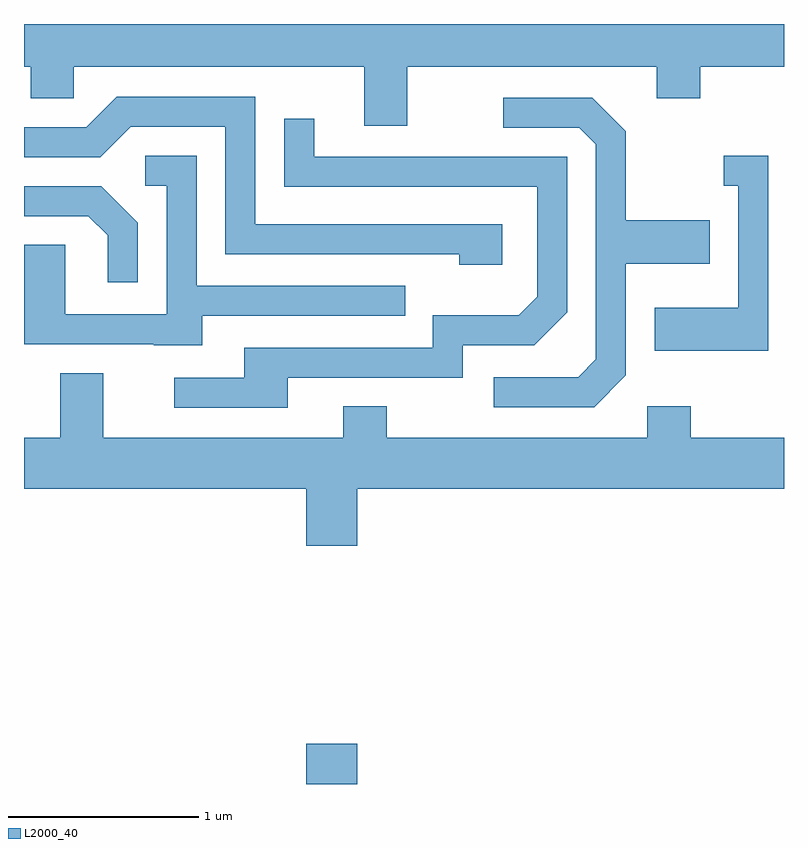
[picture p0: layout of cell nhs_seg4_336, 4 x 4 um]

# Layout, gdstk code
import gdstk
lib = gdstk.Library(unit=1e-6, precision=1e-09)
def R(c, l, rs):  # rectangles x0, y0, x1, y1
    for r in rs: c.add(gdstk.rectangle(r[:2], r[2:], *l))
def P(c, l, *ps):  # polygons
    for p in ps: c.add(gdstk.Polygon(p, *l))
L2000_40 = (2000, 40)

nhs_seg4_336 = lib.new_cell('nhs_seg4_336')
R(nhs_seg4_336, L2000_40, [(195.096,1381.982,195.364,1382.194)])
P(nhs_seg4_336, L2000_40, [(195.629,1385.756),(196.941,1385.756),(196.941,1385.591),(197.169,1385.591),(197.169,1385.756),(197.611,1385.756),(197.611,1385.982),(193.611,1385.982),(193.611,1385.756),(193.646,1385.756),(193.646,1385.591),(193.874,1385.591),(193.874,1385.756),(195.401,1385.756),(195.401,1385.446),(195.629,1385.446)],
  [(196.129,1384.929),(194.829,1384.929),(194.829,1385.599),(194.099,1385.599),(193.939,1385.439),(193.611,1385.439),(193.611,1385.281),(194.012,1385.281),(194.172,1385.441),(194.671,1385.441),(194.671,1384.771),(195.901,1384.771),(195.901,1384.716),(196.129,1384.716)],
  [(196.779,1384.134),(196.779,1384.721),(197.219,1384.721),(197.219,1384.949),(196.779,1384.949),(196.779,1385.417),(196.602,1385.594),(196.133,1385.594),(196.133,1385.436),(196.534,1385.436),(196.621,1385.349),(196.621,1384.217),(196.529,1384.124),(196.083,1384.124),(196.083,1383.966),(196.612,1383.966)],
  [(194.999,1384.121),(195.919,1384.121),(195.919,1384.291),(196.297,1384.291),(196.469,1384.464),(196.469,1385.284),(195.139,1385.284),(195.139,1385.483),(194.981,1385.483),(194.981,1385.126),(196.311,1385.126),(196.311,1384.547),(196.214,1384.449),(195.761,1384.449),(195.761,1384.279),(194.771,1384.279),(194.771,1384.119),(194.403,1384.119),(194.403,1383.961),(194.999,1383.961)],
  [(194.549,1384.446),(195.618,1384.446),(195.618,1384.604),(194.519,1384.604),(194.519,1385.289),(194.248,1385.289),(194.248,1385.131),(194.361,1385.131),(194.361,1384.454),(193.829,1384.454),(193.829,1384.819),(193.611,1384.819),(193.611,1384.296),(194.295,1384.296),(194.295,1384.291),(194.549,1384.291)],
  [(197.529,1385.289),(197.293,1385.289),(197.293,1385.131),(197.371,1385.131),(197.371,1384.489),(196.931,1384.489),(196.931,1384.261),(197.529,1384.261)],
  [(194.209,1384.937),(194.017,1385.129),(193.611,1385.129),(193.611,1384.971),(193.949,1384.971),(194.051,1384.869),(194.051,1384.623),(194.209,1384.623)],
  [(195.364,1383.536),(197.611,1383.536),(197.611,1383.804),(197.119,1383.804),(197.119,1383.969),(196.891,1383.969),(196.891,1383.804),(195.519,1383.804),(195.519,1383.969),(195.291,1383.969),(195.291,1383.804),(194.029,1383.804),(194.029,1384.144),(193.801,1384.144),(193.801,1383.804),(193.611,1383.804),(193.611,1383.536),(195.096,1383.536),(195.096,1383.236),(195.364,1383.236)])

lib.write_gds('nhs_seg4_336.gds')
